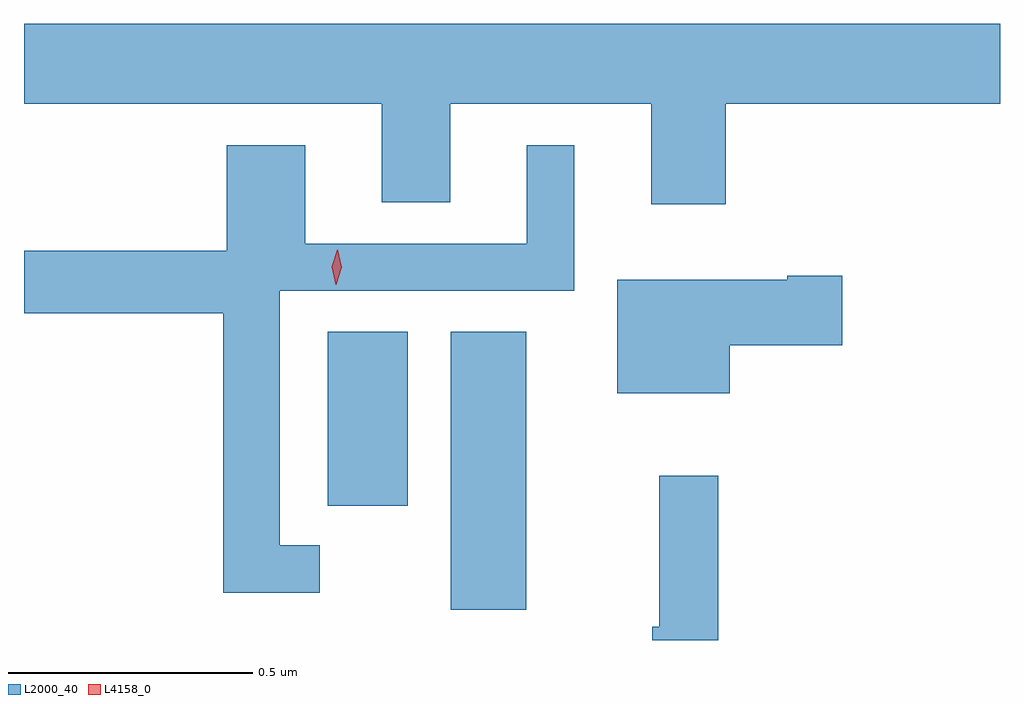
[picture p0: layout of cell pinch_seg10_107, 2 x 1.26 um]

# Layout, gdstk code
import gdstk
lib = gdstk.Library(unit=1e-6, precision=1e-09)
def R(c, l, rs):  # rectangles x0, y0, x1, y1
    for r in rs: c.add(gdstk.rectangle(r[:2], r[2:], *l))
def P(c, l, *ps):  # polygons
    for p in ps: c.add(gdstk.Polygon(p, *l))
L2000_40 = (2000, 40)
L4158_0 = (4158, 0)

pinch_seg10_107 = lib.new_cell('pinch_seg10_107')
R(pinch_seg10_107, L2000_40, [(687.728,1305.939,687.883,1306.508), (687.476,1306.152,687.64,1306.508)])
P(pinch_seg10_107, L2000_40, [(688.292,1306.976),(688.854,1306.976),(688.854,1307.14),(686.854,1307.14),(686.854,1306.976),(687.587,1306.976),(687.587,1306.774),(687.727,1306.774),(687.727,1306.976),(688.139,1306.976),(688.139,1306.77),(688.292,1306.77)],
  [(687.46,1306.071),(687.378,1306.071),(687.378,1306.593),(687.982,1306.593),(687.982,1306.891),(687.884,1306.891),(687.884,1306.689),(687.43,1306.689),(687.43,1306.891),(687.269,1306.891),(687.269,1306.675),(686.854,1306.675),(686.854,1306.546),(687.262,1306.546),(687.262,1305.974),(687.46,1305.974)],
  [(688.3,1306.481),(688.531,1306.481),(688.531,1306.623),(688.418,1306.623),(688.418,1306.615),(688.07,1306.615),(688.07,1306.382),(688.3,1306.382)],
  [(688.277,1306.213),(688.156,1306.213),(688.156,1305.904),(688.141,1305.904),(688.141,1305.876),(688.277,1305.876)])
P(pinch_seg10_107, L4158_0, [(687.493,1306.605),(687.485,1306.642),(687.496,1306.677),(687.497,1306.677),(687.497,1306.677),(687.505,1306.641),(687.494,1306.605),(687.494,1306.605)])

lib.write_gds('pinch_seg10_107.gds')
